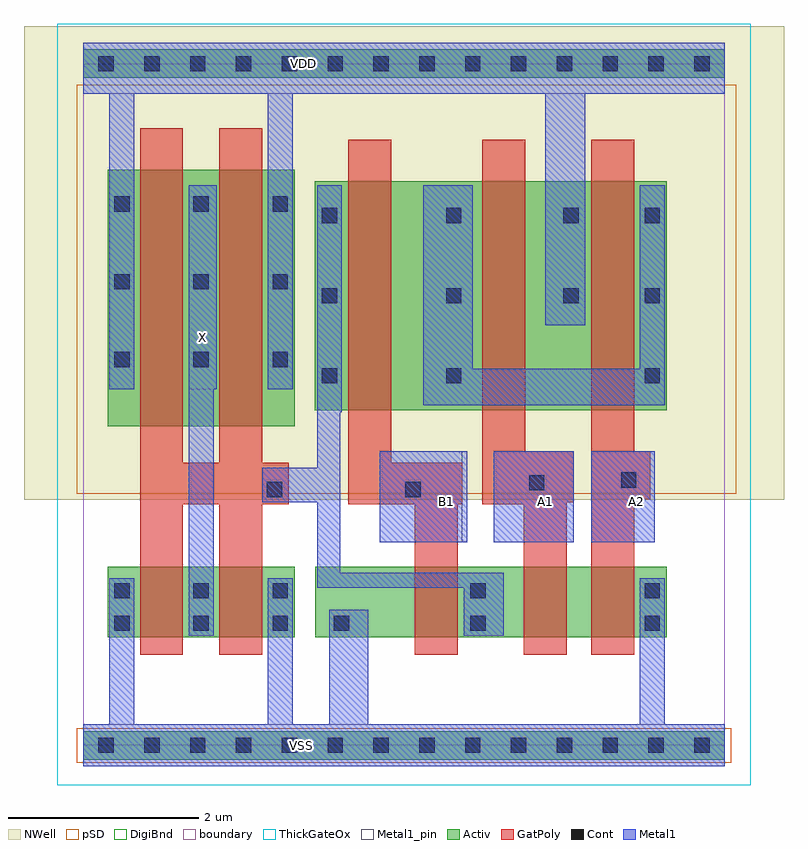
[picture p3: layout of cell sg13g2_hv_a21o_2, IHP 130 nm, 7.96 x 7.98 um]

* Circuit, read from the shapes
.subckt sg13g2_hv_a21o_2 A1 A2 B1 VDD VSS X
XM1 X n1 VSS VSS sg13_hv_nmos w=0.74u l=0.45u m=2
XM2 n1 B1 VSS VSS sg13_hv_nmos w=0.74u l=0.45u
XM3 n2 A1 n1 VSS sg13_hv_nmos w=0.74u l=0.45u
XM4 VSS A2 n2 VSS sg13_hv_nmos w=0.74u l=0.45u
XM5 X n1 VDD VDD sg13_hv_pmos w=2.69u l=0.45u m=2
XM6 n3 B1 n1 VDD sg13_hv_pmos w=2.4u l=0.45u
XM7 VDD A1 n3 VDD sg13_hv_pmos w=2.4u l=0.45u
XM8 n3 A2 VDD VDD sg13_hv_pmos w=2.4u l=0.45u
.ends

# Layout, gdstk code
import gdstk
lib = gdstk.Library(unit=1e-6, precision=1e-09)
def R(c, l, rs):  # rectangles x0, y0, x1, y1
    for r in rs: c.add(gdstk.rectangle(r[:2], r[2:], *l))
def A(c, l, x, y, w, h, nx, ny, dx, dy):  # array of equal rectangles
    R(c, l, [(x+i*dx, y+j*dy, x+i*dx+w, y+j*dy+h) for i in range(nx) for j in range(ny)])
def P(c, l, *ps):  # polygons
    for p in ps: c.add(gdstk.Polygon(p, *l))
Activ = (1, 0)
GatPoly = (5, 0)
Cont = (6, 0)
Metal1 = (8, 0)
Metal1_pin = (8, 2)
pSD = (14, 0)
DigiBnd = (16, 0)
NWell = (31, 0)
ThickGateOx = (44, 0)
boundary = (189, 4)

sg13g2_hv_a21o_2 = lib.new_cell('sg13g2_hv_a21o_2')
R(sg13g2_hv_a21o_2, Activ, [(0,-0.15,6.72,0.15), (0.255,1.13,2.215,1.87), (2.43,1.13,6.11,1.87), (0.255,3.34,2.215,6.03), (2.425,3.51,6.11,5.91), (0,6.99,6.72,7.29)])
P(sg13g2_hv_a21o_2, GatPoly, [(5.32,0.95),(5.32,6.345),(5.77,6.345),(5.77,3.08),(5.94,3.08),(5.94,2.575),(5.77,2.575),(5.77,0.95)],
  [(4.615,0.95),(4.615,2.525),(4.18,2.525),(4.18,6.345),(4.63,6.345),(4.63,3.08),(5.14,3.08),(5.14,2.545),(5.065,2.545),(5.065,0.95)],
  [(3.475,0.95),(3.475,2.525),(2.775,2.525),(2.775,6.345),(3.225,6.345),(3.225,2.96),(3.97,2.96),(3.97,2.525),(3.925,2.525),(3.925,0.95)],
  [(0.595,0.95),(0.595,6.465),(1.045,6.465),(1.045,2.96),(1.425,2.96),(1.425,6.465),(1.875,6.465),(1.875,2.96),(2.155,2.96),(2.155,2.525),(1.875,2.525),(1.875,0.95),(1.425,0.95),(1.425,2.525),(1.045,2.525),(1.045,0.95)])
A(sg13g2_hv_a21o_2, Cont, 0.16, -0.08, 0.16, 0.16, 14, 2, 0.48, 7.14)
A(sg13g2_hv_a21o_2, Cont, 0.325, 1.2, 0.16, 0.16, 3, 2, 0.83, 0.34)
A(sg13g2_hv_a21o_2, Cont, 2.5, 3.79, 0.16, 0.16, 1, 3, 0, 0.84)
A(sg13g2_hv_a21o_2, Cont, 3.8, 3.79, 0.16, 0.16, 1, 3, 0, 0.84)
A(sg13g2_hv_a21o_2, Cont, 5.88, 3.79, 0.16, 0.16, 1, 3, 0, 0.84)
A(sg13g2_hv_a21o_2, Cont, 0.325, 3.96, 0.16, 0.16, 3, 3, 0.83, 0.815)
R(sg13g2_hv_a21o_2, Cont, [(2.625,1.2,2.785,1.36), (4.055,1.2,4.215,1.36), (5.88,1.2,6.04,1.36), (4.055,1.54,4.215,1.7), (5.88,1.54,6.04,1.7), (1.925,2.6,2.085,2.76), (3.375,2.6,3.535,2.76), (4.67,2.67,4.83,2.83), (5.635,2.7,5.795,2.86), (5.03,4.63,5.19,4.79), (5.03,5.47,5.19,5.63)])
R(sg13g2_hv_a21o_2, Metal1, [(3.105,2.125,4.025,3.08), (4.3,2.125,5.14,3.08), (5.32,2.125,5.985,3.08), (4.84,4.4,5.26,6.825)])
P(sg13g2_hv_a21o_2, Metal1, [(0,-0.22),(0,0.22),(0.275,0.22),(0.275,1.75),(0.535,1.75),(0.535,0.22),(1.935,0.22),(1.935,1.75),(2.195,1.75),(2.195,0.22),(2.575,0.22),(2.575,1.42),(2.985,1.42),(2.985,0.22),(5.83,0.22),(5.83,1.75),(6.09,1.75),(6.09,0.22),(6.72,0.22),(6.72,-0.22)],
  [(0.275,3.73),(0.275,6.825),(0,6.825),(0,7.36),(6.72,7.36),(6.72,6.825),(2.195,6.825),(2.195,3.73),(1.935,3.73),(1.935,6.825),(0.535,6.825),(0.535,3.73)],
  [(3.56,3.56),(3.56,5.865),(4.08,5.865),(4.08,3.945),(5.83,3.945),(5.83,5.865),(6.09,5.865),(6.09,3.56)],
  [(3.985,1.15),(3.985,1.65),(2.45,1.65),(2.45,2.545),(1.875,2.545),(1.875,2.91),(2.45,2.91),(2.45,5.865),(2.71,5.865),(2.71,3.49),(2.69,3.49),(2.69,1.81),(4.405,1.81),(4.405,1.15)],
  [(1.105,1.15),(1.105,5.865),(1.4,5.865),(1.4,3.73),(1.365,3.73),(1.365,1.15)])
R(sg13g2_hv_a21o_2, Metal1_pin, [(0,-0.22,6.72,0.22), (3.105,2.125,3.97,3.08), (4.3,2.125,5.14,3.08), (5.32,2.125,5.985,3.08), (1.105,3.73,1.4,5.865), (0,6.825,6.72,7.36)])
R(sg13g2_hv_a21o_2, pSD, [(-0.07,-0.18,6.79,0.18), (-0.07,2.635,6.84,6.92)])
R(sg13g2_hv_a21o_2, DigiBnd, [(0,0,6.72,7.14)])
R(sg13g2_hv_a21o_2, NWell, [(-0.62,2.57,7.34,7.53)])
R(sg13g2_hv_a21o_2, ThickGateOx, [(-0.27,-0.42,6.99,7.56)])
R(sg13g2_hv_a21o_2, boundary, [(0,0,6.72,7.14)])
sg13g2_hv_a21o_2.add(gdstk.Label('B1', (3.805,2.555), layer=8, texttype=25))
sg13g2_hv_a21o_2.add(gdstk.Label('X', (1.25,4.27), layer=8, texttype=25))
sg13g2_hv_a21o_2.add(gdstk.Label('VDD', (2.305,7.145), layer=8, texttype=25))
sg13g2_hv_a21o_2.add(gdstk.Label('VSS', (2.285,0), layer=8, texttype=25))
sg13g2_hv_a21o_2.add(gdstk.Label('A1', (4.84,2.555), layer=8, texttype=25))
sg13g2_hv_a21o_2.add(gdstk.Label('A2', (5.8,2.555), layer=8, texttype=25))

lib.write_gds('sg13g2_hv_a21o_2.gds')
